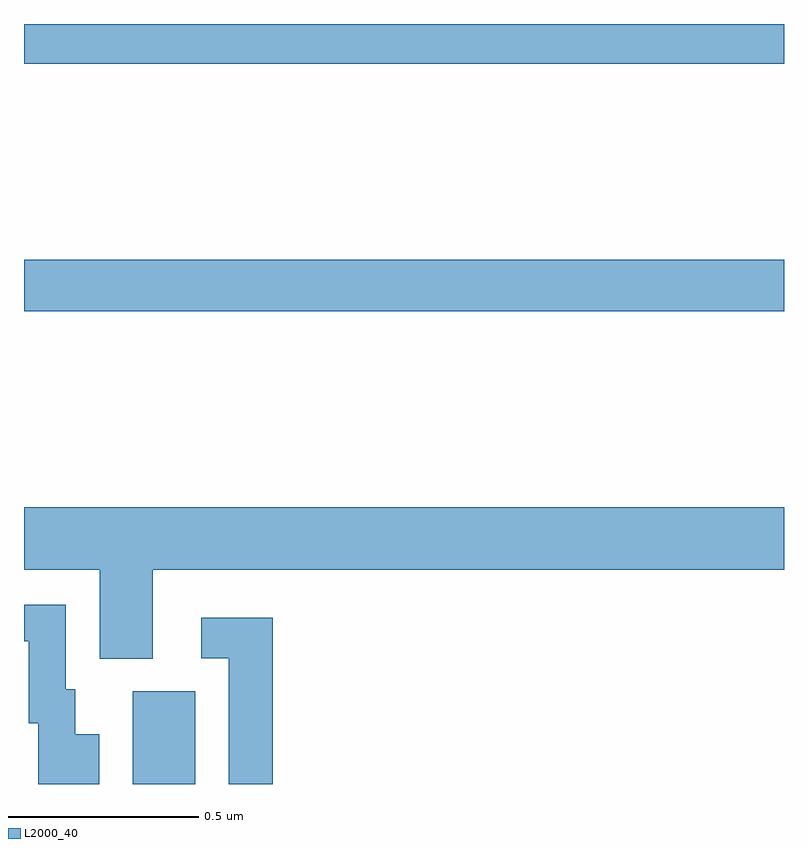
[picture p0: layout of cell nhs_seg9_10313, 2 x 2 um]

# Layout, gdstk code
import gdstk
lib = gdstk.Library(unit=1e-6, precision=1e-09)
def R(c, l, rs):  # rectangles x0, y0, x1, y1
    for r in rs: c.add(gdstk.rectangle(r[:2], r[2:], *l))
def P(c, l, *ps):  # polygons
    for p in ps: c.add(gdstk.Polygon(p, *l))
L2000_40 = (2000, 40)

nhs_seg9_10313 = lib.new_cell('nhs_seg9_10313')
R(nhs_seg9_10313, L2000_40, [(241.286,1218.5,241.45,1218.744), (241,1219.744,243,1219.88), (241,1220.396,243,1220.5)])
P(nhs_seg9_10313, L2000_40, [(241.339,1219.064),(243,1219.064),(243,1219.228),(241,1219.228),(241,1219.064),(241.199,1219.064),(241.199,1218.829),(241.339,1218.829)],
  [(241.198,1218.631),(241.135,1218.631),(241.135,1218.75),(241.11,1218.75),(241.11,1218.972),(241,1218.972),(241,1218.876),(241.013,1218.876),(241.013,1218.66),(241.037,1218.66),(241.037,1218.5),(241.198,1218.5)],
  [(241.655,1218.937),(241.467,1218.937),(241.467,1218.831),(241.539,1218.831),(241.539,1218.5),(241.655,1218.5)])

lib.write_gds('nhs_seg9_10313.gds')
